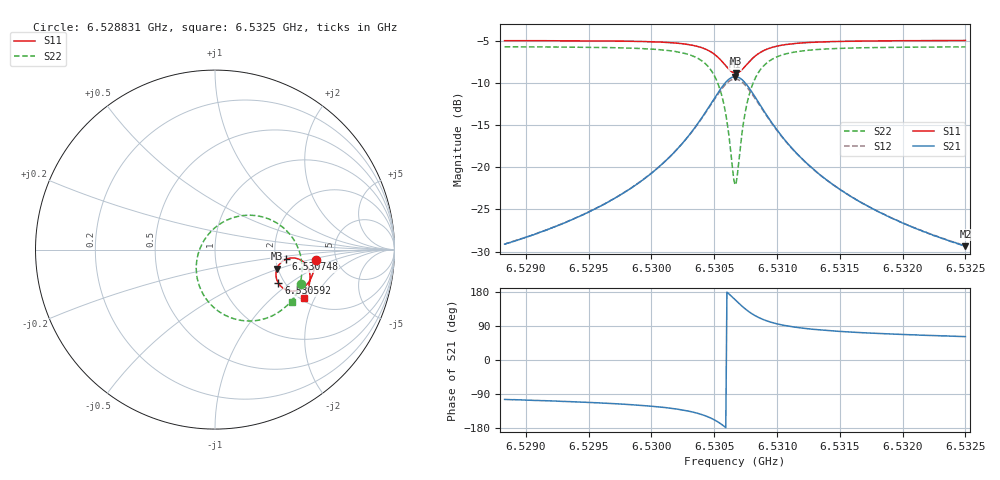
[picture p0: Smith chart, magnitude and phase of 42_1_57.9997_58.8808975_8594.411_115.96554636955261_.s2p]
#  HZ  S  RI  R  50.00
! Rohde & Schwarz Vector Network Analyzer
! Rohde-Schwarz,ZNB20-2Port,1311601062101988,3.16
! Created: UTC 3/21/2024, 12:52:07 AM
! freq[Hz]  re:S11  im:S11  re:S21  im:S21  re:S12  im:S12  re:S22  im:S22
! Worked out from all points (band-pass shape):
!   401 points, 6.528831 GHz to 6.5325 GHz, reference 50 ohm
!   highest |S21| = -9.24 dB at 6.530665 GHz (marker M1); lowest = -29.4 dB at 6.5325 GHz (marker M2)
!   |S21| within 3 dB of the highest: 6.530483 GHz to 6.53085 GHz (367.2 kHz wide, 0.00562 % of centre)
!   lowest |S11| = -8.8 dB at 6.530675 GHz (marker M3), VSWR 2.13, Z = 98.9 - j24.1 ohm
!   |S11| at or under -10 dB: nowhere
!   |S22| runs from -22.1 to -5.7 dB; largest |S21 - S12| = 0.015
!   S11 on the Smith chart (normalised r, x): 6.528831 GHz: 3.47, -0.60; 6.530592 GHz: 1.85, -0.83; 6.530748 GHz: 2.28, -0.29; 6.5325 GHz: 2.08, -1.66
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6.5288313e9  0.5608 -0.0594  -0.0085 -0.034  -0.0093 -0.0337  0.4817 -0.1917
6.5294457e9  0.5512 -0.1127  -0.0188 -0.0484  -0.0199 -0.048  0.449 -0.2533
6.5297667e9  0.5411 -0.1447  -0.0309 -0.0623  -0.0326 -0.0616  0.4168 -0.2949
6.5300602e9  0.5236 -0.1794  -0.0559 -0.0835  -0.0584 -0.082  0.3606 -0.3448
6.5302711e9  0.4952 -0.2102  -0.1 -0.106  -0.1034 -0.1024  0.2712 -0.3869
6.5304362e9  0.4436 -0.2309  -0.1827 -0.1137  -0.1853 -0.1056  0.1195 -0.3891
6.5305279e9  0.3921 -0.2219  -0.2634 -0.0802  -0.2616 -0.0683  -0.0139 -0.3158
6.5305646e9  0.3689 -0.206  -0.298 -0.0457  -0.293 -0.0331  -0.0653 -0.2501
6.5305921e9  0.3537 -0.1873  -0.3194 -0.00869  -0.3112 0.00301  -0.0932 -0.1841
6.5306472e9  0.3398 -0.1347  -0.3317 0.0878  -0.3186 0.0942  -0.0934 -0.0227
6.5306655e9  0.3427 -0.1154  -0.3229 0.1214  -0.3094 0.1256  -0.0724 0.0307
6.5306747e9  0.3456 -0.106  -0.316 0.1376  -0.3025 0.1405  -0.0581 0.0559
6.530693e9  0.3542 -0.0887  -0.2978 0.1674  -0.2848 0.1678  -0.0226 0.1009
6.5307114e9  0.3661 -0.0739  -0.2749 0.1922  -0.2629 0.1908  0.0197 0.1373
6.530748e9  0.3951 -0.054  -0.2214 0.2248  -0.2124 0.221  0.1134 0.1815
6.5308122e9  0.4451 -0.0472  -0.1337 0.2355  -0.1291 0.2311  0.2622 0.1828
6.530904e9  0.4916 -0.0676  -0.0548 0.2039  -0.053 0.2016  0.3908 0.1126
6.5310507e9  0.521 -0.1076  -0.00441 0.1487  -0.00342 0.1478  0.4662 0.000466
6.53128e9  0.5297 -0.1523  0.0151 0.0976  0.0161 0.0972  0.4854 -0.1056
6.5315643e9  0.5259 -0.1898  0.0188 0.0662  0.0198 0.066  0.477 -0.1774
6.5318944e9  0.5169 -0.2226  0.0182 0.0472  0.0191 0.0471  0.4607 -0.2288
6.5324997e9  0.4959 -0.2715  0.0161 0.03  0.0168 0.0296  0.4294 -0.2898
